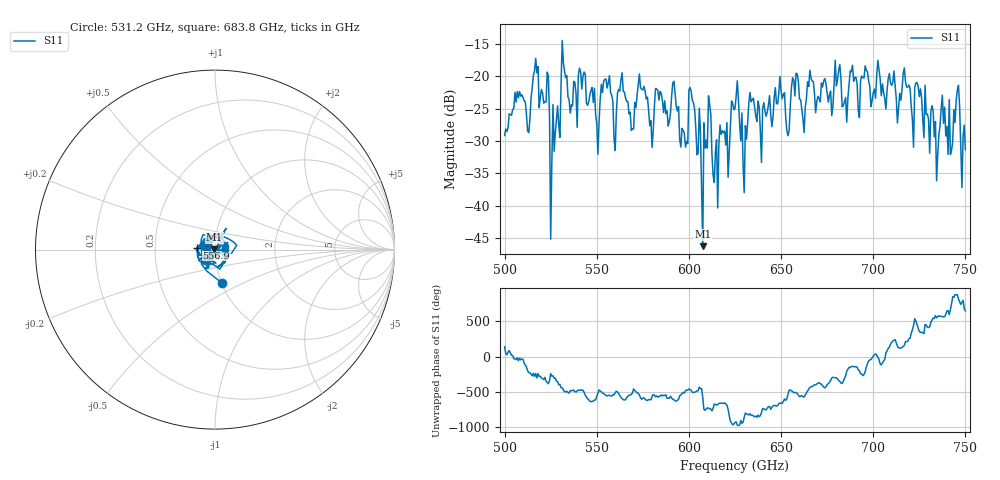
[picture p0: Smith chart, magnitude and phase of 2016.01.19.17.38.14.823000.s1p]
!Created with skrf (http://scikit-rf.org).
# GHz S RI R 50.0
!freq ReS11 ImS11
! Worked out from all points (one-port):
!   401 points, 500 GHz to 750 GHz, reference 50 ohm
!   lowest |S11| = -46.3 dB at 607.5 GHz (marker M1), VSWR 1.01, Z = 49.6 + j0.273 ohm
!   |S11| at or under -10 dB: start of sweep to end of sweep
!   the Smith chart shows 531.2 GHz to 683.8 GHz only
!   S11 on the Smith chart (normalised r, x): 531.2 GHz: 1.01, -0.39; 556.9 GHz: 0.82, +0.02; 683.8 GHz: 1.12, +0.02
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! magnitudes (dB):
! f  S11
! 500 GHz  -29.1
! 513.1 GHz  -28.7
! 516.9 GHz  -17.2
! 523.1 GHz  -19.3
! 526.2 GHz  -24.4
! 531.2 GHz  -14.4
! 550.6 GHz  -32.1
! 556.9 GHz  -19.9
! 559.4 GHz  -29.6
! 562.5 GHz  -22.3
! 568.8 GHz  -28.4
! 593.8 GHz  -25.4
! 598.1 GHz  -30.9
! 601.2 GHz  -22.4
! 607.5 GHz  -46.3
! 610.6 GHz  -23.0
! 614.4 GHz  -31.8
! 625 GHz  -25.0
! 630.6 GHz  -27.6
! 633.8 GHz  -23.9
! 653.8 GHz  -29.2
! 656.2 GHz  -20.2
! 683.8 GHz  -24.6
! 687.5 GHz  -19.2
! 718.8 GHz  -21.7
! 734.4 GHz  -36.2
! 745.6 GHz  -22.1
! 750 GHz  -31.3
